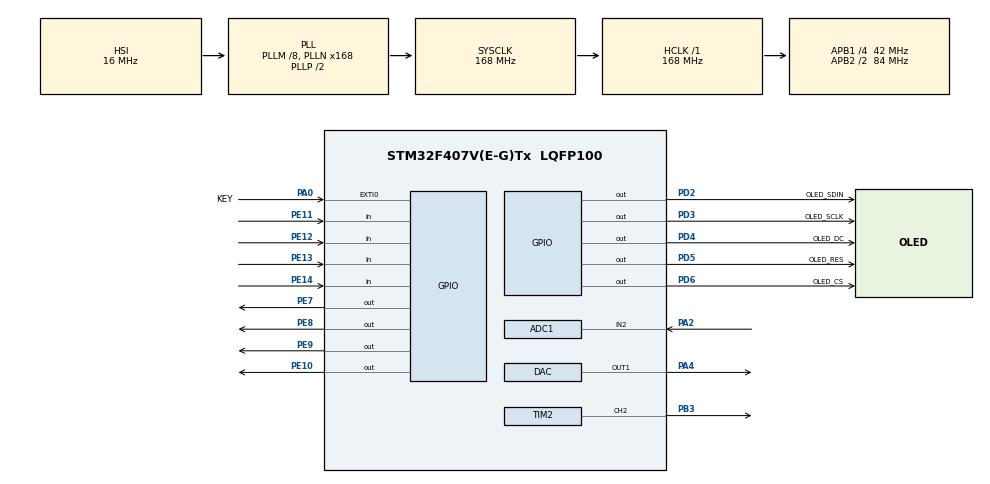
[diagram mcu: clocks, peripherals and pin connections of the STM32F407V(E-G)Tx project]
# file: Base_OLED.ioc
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ADC1.Channel-1\#ChannelRegularConversion=ADC_CHANNEL_2
ADC1.NbrOfConversionFlag=1
ADC1.Rank-1\#ChannelRegularConversion=1
ADC1.SamplingTime-1\#ChannelRegularConversion=ADC_SAMPLETIME_3CYCLES
ADC1.master=1
DAC.DAC_OutputBuffer=DAC_OUTPUTBUFFER_DISABLE
DAC.DAC_Trigger=DAC_TRIGGER_T6_TRGO
DAC.WaveGeneration=DISABLE
Dma.DAC1.0.Direction=DMA_MEMORY_TO_PERIPH
Dma.DAC1.0.FIFOMode=DMA_FIFOMODE_DISABLE
Dma.DAC1.0.Instance=DMA1_Stream5
Dma.DAC1.0.MemDataAlignment=DMA_MDATAALIGN_HALFWORD
Dma.DAC1.0.MemInc=DMA_MINC_ENABLE
Dma.DAC1.0.Mode=DMA_CIRCULAR
Dma.DAC1.0.PeriphDataAlignment=DMA_PDATAALIGN_HALFWORD
Dma.DAC1.0.PeriphInc=DMA_PINC_DISABLE
Dma.DAC1.0.Priority=DMA_PRIORITY_LOW
Dma.Request0=DAC1
Mcu.Family=STM32F4
Mcu.Name=STM32F407V(E-G)Tx
Mcu.Package=LQFP100
NVIC.DMA1_Stream5_IRQn=true\:0\:0\:false\:false\:true\:false\:true
NVIC.EXTI0_IRQn=true\:0\:0\:false\:false\:true\:true\:true
NVIC.PriorityGroup=NVIC_PRIORITYGROUP_4
NVIC.TIM5_IRQn=true\:0\:0\:false\:false\:true\:true\:true
NVIC.TIM6_DAC_IRQn=true\:0\:0\:false\:false\:true\:true\:true
PA0-WKUP.GPIO_Label=KEY
PA0-WKUP.Signal=GPXTI0
PA13.Mode=Serial_Wire
PA13.Signal=SYS_JTMS-SWDIO
PA14.Mode=Serial_Wire
PA14.Signal=SYS_JTCK-SWCLK
PA2.Signal=ADCx_IN2
PA4.Signal=COMP_DAC1_group
PB3.Signal=S_TIM2_CH2
PD2.GPIO_Label=OLED_SDIN
PD2.GPIO_PuPd=GPIO_PULLUP
PD2.GPIO_Speed=GPIO_SPEED_FREQ_HIGH
PD2.Signal=GPIO_Output
PD3.GPIO_Label=OLED_SCLK
PD3.Signal=GPIO_Output
PD4.GPIO_Label=OLED_DC
PD4.GPIO_PuPd=GPIO_PULLUP
PD4.GPIO_Speed=GPIO_SPEED_FREQ_HIGH
PD4.Signal=GPIO_Output
PD5.GPIO_Label=OLED_RES
PD5.GPIO_PuPd=GPIO_PULLUP
PD5.GPIO_Speed=GPIO_SPEED_FREQ_HIGH
PD5.Signal=GPIO_Output
PD6.GPIO_Label=OLED_CS
PD6.GPIO_PuPd=GPIO_PULLUP
PD6.GPIO_Speed=GPIO_SPEED_FREQ_HIGH
PD6.Signal=GPIO_Output
PE10.GPIO_PuPd=GPIO_PULLUP
PE10.PinState=GPIO_PIN_SET
PE10.Signal=GPIO_Output
PE11.Signal=GPIO_Input
PE12.Signal=GPIO_Input
PE13.Signal=GPIO_Input
PE14.Signal=GPIO_Input
PE7.GPIO_PuPd=GPIO_PULLUP
PE7.PinState=GPIO_PIN_SET
PE7.Signal=GPIO_Output
PE8.GPIO_PuPd=GPIO_PULLUP
PE8.PinState=GPIO_PIN_SET
PE8.Signal=GPIO_Output
PE9.GPIO_PuPd=GPIO_PULLUP
PE9.PinState=GPIO_PIN_SET
PE9.Signal=GPIO_Output
PH0-OSC_IN.Mode=HSE-External-Oscillator
PH0-OSC_IN.Signal=RCC_OSC_IN
PH1-OSC_OUT.Mode=HSE-External-Oscillator
PH1-OSC_OUT.Signal=RCC_OSC_OUT
ProjectManager.HeapSize=0x200
ProjectManager.StackSize=0x400
ProjectManager.TargetToolchain=MDK-ARM V5.27
RCC.48MHZClocksFreq_Value=84000000
RCC.AHBFreq_Value=168000000
RCC.APB1CLKDivider=RCC_HCLK_DIV4
RCC.APB1Freq_Value=42000000
RCC.APB1TimFreq_Value=84000000
RCC.APB2CLKDivider=RCC_HCLK_DIV2
RCC.APB2Freq_Value=84000000
RCC.APB2TimFreq_Value=168000000
RCC.CortexFreq_Value=168000000
RCC.HCLKFreq_Value=168000000
RCC.HSE_VALUE=25000000
RCC.HSI_VALUE=16000000
RCC.LSE_VALUE=32768
RCC.PLLM=8
RCC.PLLN=168
RCC.SYSCLKFreq_VALUE=168000000
RCC.SYSCLKSource=RCC_SYSCLKSOURCE_PLLCLK
RCC.VCOOutputFreq_Value=336000000
SH.ADCx_IN2.0=ADC1_IN2,IN2
SH.COMP_DAC1_group.0=DAC_OUT1,DAC_OUT1
SH.S_TIM2_CH2.0=TIM2_CH2,PWM Generation2 CH2
TIM2.AutoReloadPreload=TIM_AUTORELOAD_PRELOAD_DISABLE
TIM2.Channel-PWM\ Generation2\ CH2=TIM_CHANNEL_2
TIM2.Period=500-1
TIM2.Prescaler=84-1
TIM5.AutoReloadPreload=TIM_AUTORELOAD_PRELOAD_ENABLE
TIM5.Period=500-1
TIM5.Prescaler=8400-1
TIM6.AutoReloadPreload=TIM_AUTORELOAD_PRELOAD_DISABLE
TIM6.Period=100-1
TIM6.Prescaler=84-1
TIM6.TIM_MasterOutputTrigger=TIM_TRGO_UPDATE
VP_TIM5_VS_ClockSourceINT.Mode=Internal
VP_TIM6_VS_ClockSourceINT.Mode=Enable_Timer
board=custom

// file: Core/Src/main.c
/* USER CODE BEGIN Header */
/**
  ******************************************************************************
  * @file           : main.c
  * @brief          : Main program body
  ******************************************************************************
  * @attention
  *
  * <h2><center>&copy; Copyright (c) 2021 STMicroelectronics.
  * All rights reserved.</center></h2>
  *
  * This software component is licensed by ST under BSD 3-Clause license,
  * the "License"; You may not use this file except in compliance with the
  * License. You may obtain a copy of the License at:
  *                        opensource.org/licenses/BSD-3-Clause
  *
  ******************************************************************************
  */
/* USER CODE END Header */
#include "main.h"
#include "adc.h"
#include "dac.h"
#include "dma.h"
#include "tim.h"
#include "gpio.h"

/* USER CODE BEGIN Includes */
#include "oledspi.h"
#include "bmp.h"
#include "myUI.h"
#include "wave.h"
#include "keyboard.h"
/* USER CODE END Includes */

/* USER CODE BEGIN PV */
float duty;
unsigned char value;
/* USER CODE END PV */

void SystemClock_Config(void);

int main(void)
{

  /* MCU Configuration--------------------------------------------------------*/

  /* Reset of all peripherals, Initializes the Flash interface and the Systick. */
  HAL_Init();

  /* Configure the system clock */
  SystemClock_Config();

  /* Initialize all configured peripherals */
  MX_GPIO_Init();
  MX_DMA_Init();
  MX_TIM2_Init();
  MX_ADC1_Init();
  MX_DAC_Init();
  MX_TIM6_Init();
  MX_TIM5_Init();
  /* USER CODE BEGIN 2 */
  OLED_Init();
  HAL_TIM_Base_Start_IT(&htim5);//定时器刷新屏幕显示
  HAL_TIM_PWM_Start(&htim2,TIM_CHANNEL_2);//呼吸灯
  //HAL_TIM_PWM_Start(&htim3,TIM_CHANNEL_1);//adc采集

  HAL_TIM_Base_Start(&htim6);

  settings();
  Wave_start();

  /* USER CODE END 2 */

  /* Infinite loop */
  while (1)
  {

    /* USER CODE BEGIN 3 */
   //value = key_scan();

    get_value();

  }
  /* USER CODE END 3 */
}

void SystemClock_Config(void)
{
  RCC_OscInitTypeDef RCC_OscInitStruct = {0};
  RCC_ClkInitTypeDef RCC_ClkInitStruct = {0};

  /** Configure the main internal regulator output voltage
  */
  __HAL_RCC_PWR_CLK_ENABLE();
  __HAL_PWR_VOLTAGESCALING_CONFIG(PWR_REGULATOR_VOLTAGE_SCALE1);
  /** Initializes the RCC Oscillators according to the specified parameters
  * in the RCC_OscInitTypeDef structure.
  */
  RCC_OscInitStruct.OscillatorType = RCC_OSCILLATORTYPE_HSI;
  RCC_OscInitStruct.HSIState = RCC_HSI_ON;
  RCC_OscInitStruct.HSICalibrationValue = RCC_HSICALIBRATION_DEFAULT;
  RCC_OscInitStruct.PLL.PLLState = RCC_PLL_ON;
  RCC_OscInitStruct.PLL.PLLSource = RCC_PLLSOURCE_HSI;
  RCC_OscInitStruct.PLL.PLLM = 8;
  RCC_OscInitStruct.PLL.PLLN = 168;
  RCC_OscInitStruct.PLL.PLLP = RCC_PLLP_DIV2;
  RCC_OscInitStruct.PLL.PLLQ = 4;
  if (HAL_RCC_OscConfig(&RCC_OscInitStruct) != HAL_OK)
  {
    Error_Handler();
  }
  /** Initializes the CPU, AHB and APB buses clocks
  */
  RCC_ClkInitStruct.ClockType = RCC_CLOCKTYPE_HCLK|RCC_CLOCKTYPE_SYSCLK
                              |RCC_CLOCKTYPE_PCLK1|RCC_CLOCKTYPE_PCLK2;
  RCC_ClkInitStruct.SYSCLKSource = RCC_SYSCLKSOURCE_PLLCLK;
  RCC_ClkInitStruct.AHBCLKDivider = RCC_SYSCLK_DIV1;
  RCC_ClkInitStruct.APB1CLKDivider = RCC_HCLK_DIV4;
  RCC_ClkInitStruct.APB2CLKDivider = RCC_HCLK_DIV2;

  if (HAL_RCC_ClockConfig(&RCC_ClkInitStruct, FLASH_LATENCY_5) != HAL_OK)
  {
    Error_Handler();
  }
}

/* USER CODE BEGIN 4 */
void HAL_TIM_PeriodElapsedCallback(TIM_HandleTypeDef *htim)
{
    if (htim == (&htim5))
    {
        UI();
        //Draw_GeZi();
    }

}

/* USER CODE END 4 */

void Error_Handler(void)
{
  __disable_irq();
  while (1)
  {
  }
}

/************************ (C) COPYRIGHT STMicroelectronics *****END OF FILE****/
